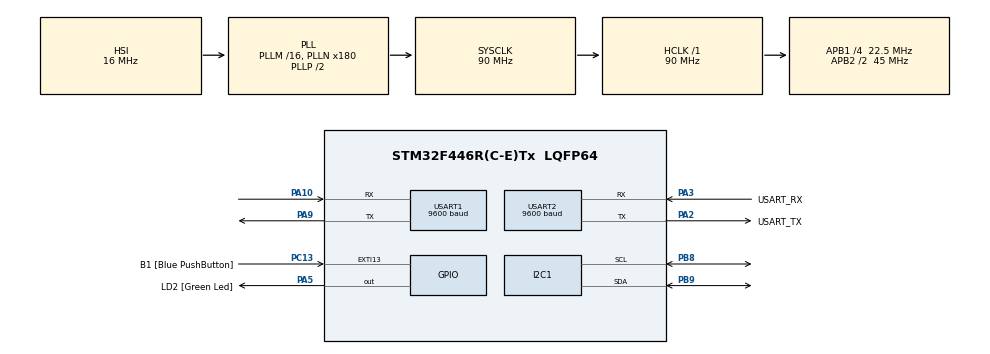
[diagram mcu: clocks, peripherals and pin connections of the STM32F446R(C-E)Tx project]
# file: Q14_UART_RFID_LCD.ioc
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Mcu.Family=STM32F4
Mcu.Name=STM32F446R(C-E)Tx
Mcu.Package=LQFP64
NVIC.PriorityGroup=NVIC_PRIORITYGROUP_0
NVIC.USART1_IRQn=true\:0\:0\:false\:false\:true\:true\:true\:true
NVIC.USART2_IRQn=true\:0\:0\:false\:false\:true\:true\:true\:true
PA10.Mode=Asynchronous
PA10.Signal=USART1_RX
PA13.GPIO_Label=TMS
PA13.Mode=Serial_Wire
PA13.Signal=SYS_JTMS-SWDIO
PA14.GPIO_Label=TCK
PA14.Mode=Serial_Wire
PA14.Signal=SYS_JTCK-SWCLK
PA2.GPIO_Label=USART_TX
PA2.Mode=Asynchronous
PA2.Signal=USART2_TX
PA3.GPIO_Label=USART_RX
PA3.Mode=Asynchronous
PA3.Signal=USART2_RX
PA5.GPIO_Label=LD2 [Green Led]
PA5.Signal=GPIO_Output
PA9.Mode=Asynchronous
PA9.Signal=USART1_TX
PB3.GPIO_Label=SWO
PB3.Signal=SYS_JTDO-SWO
PB8.Mode=I2C
PB8.Signal=I2C1_SCL
PB9.Mode=I2C
PB9.Signal=I2C1_SDA
PC13.GPIO_Label=B1 [Blue PushButton]
PC13.GPIO_ModeDefaultEXTI=GPIO_MODE_IT_FALLING
PC13.Signal=GPXTI13
PC14-OSC32_IN.Mode=LSE-External-Oscillator
PC14-OSC32_IN.Signal=RCC_OSC32_IN
PC15-OSC32_OUT.Mode=LSE-External-Oscillator
PC15-OSC32_OUT.Signal=RCC_OSC32_OUT
PH0-OSC_IN.Mode=HSE-External-Oscillator
PH0-OSC_IN.Signal=RCC_OSC_IN
PH1-OSC_OUT.Mode=HSE-External-Oscillator
PH1-OSC_OUT.Signal=RCC_OSC_OUT
ProjectManager.HeapSize=0x200
ProjectManager.StackSize=0x400
ProjectManager.TargetToolchain=STM32CubeIDE
RCC.48MHZClocksFreq_Value=84000000
RCC.AHBFreq_Value=90000000
RCC.APB1CLKDivider=RCC_HCLK_DIV4
RCC.APB1Freq_Value=22500000
RCC.APB1TimFreq_Value=45000000
RCC.APB2CLKDivider=RCC_HCLK_DIV2
RCC.APB2Freq_Value=45000000
RCC.APB2TimFreq_Value=90000000
RCC.CortexFreq_Value=90000000
RCC.FLatency-AdvancedSettings=FLASH_LATENCY_2
RCC.HCLKFreq_Value=90000000
RCC.HSE_VALUE=8000000
RCC.HSI_VALUE=16000000
RCC.PLLN=180
RCC.SYSCLKFreq_VALUE=90000000
RCC.SYSCLKSource=RCC_SYSCLKSOURCE_PLLCLK
RCC.USBFreq_Value=90000000
RCC.VCOOutputFreq_Value=180000000
USART1.BaudRate=9600
USART1.VirtualMode=VM_ASYNC
USART2.BaudRate=9600
USART2.VirtualMode=VM_ASYNC
board=NUCLEO-F446RE

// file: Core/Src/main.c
/* USER CODE BEGIN Header */
/**
  ******************************************************************************
  * @file           : main.c
  * @brief          : Main program body
  ******************************************************************************
  * @attention
  *
  * Copyright (c) 2023 STMicroelectronics.
  * All rights reserved.
  *
  * This software is licensed under terms that can be found in the LICENSE file
  * in the root directory of this software component.
  * If no LICENSE file comes with this software, it is provided AS-IS.
  *
  ******************************************************************************
  */
/* USER CODE END Header */
#include "main.h"

I2C_HandleTypeDef hi2c1;

UART_HandleTypeDef huart1;
UART_HandleTypeDef huart2;

void SystemClock_Config(void);
static void MX_GPIO_Init(void);
static void MX_USART2_UART_Init(void);
static void MX_I2C1_Init(void);
static void MX_USART1_UART_Init(void);

/* USER CODE BEGIN 0 */
#include "Lcd_i2c.h"
uint8_t buffer[30] = {1,2,3,4};

uint8_t  rfid_data[16];
char lcd_data[16];

uint8_t MSG1[] ="Button State :Realsed\r\n";

void HAL_UART_RxCpltCallback(UART_HandleTypeDef *huart){

	HAL_UART_Receive_IT(&huart2, &rfid_data,1);
}
/* USER CODE END 0 */

int main(void)
{

  /* MCU Configuration--------------------------------------------------------*/

  /* Reset of all peripherals, Initializes the Flash interface and the Systick. */
  HAL_Init();

  /* Configure the system clock */
  SystemClock_Config();

  /* Initialize all configured peripherals */
  MX_GPIO_Init();
  MX_USART2_UART_Init();
  MX_I2C1_Init();
  MX_USART1_UART_Init();
  /* USER CODE BEGIN 2 */
      HD44780_Init(2);
      HD44780_Clear();
//      HD44780_SetCursor(0,0);
//      HD44780_PrintStr(buffer);
//      HAL_Delay(2000);
//      HD44780_Clear();

  /* USER CODE END 2 */

  /* Infinite loop */
  /* USER CODE BEGIN WHILE */
  while (1)
  {
//	  if(HAL_GPIO_ReadPin(GPIOC, GPIO_PIN_13)==1)
//	     {
//	     	HAL_UART_Transmit(&huart2, MSG1, sizeof(MSG1), 1000);
//
//	     }
//	     else
//	     {
//	     	HAL_UART_Transmit(&huart2, MSG2, sizeof(MSG2), 1000);
//
//	     }
	  HAL_UART_Receive_IT(&huart1, rfid_data, 16);
      HAL_GPIO_WritePin(GPIOA, GPIO_PIN_6, 1);
      HAL_Delay(250);

      	  HAL_Delay(5000);
      	HAL_UART_Transmit(&huart2, rfid_data, sizeof(rfid_data), 1000);
      	HD44780_PrintStr(rfid_data);
//        HAL_UART_Transmit(&huart2, buffer, sizeof(buffer), 1000);
    /* USER CODE END WHILE */

  }
}

void SystemClock_Config(void)
{
  RCC_OscInitTypeDef RCC_OscInitStruct = {0};
  RCC_ClkInitTypeDef RCC_ClkInitStruct = {0};

  /** Configure the main internal regulator output voltage
  */
  __HAL_RCC_PWR_CLK_ENABLE();
  __HAL_PWR_VOLTAGESCALING_CONFIG(PWR_REGULATOR_VOLTAGE_SCALE3);

  /** Initializes the RCC Oscillators according to the specified parameters
  * in the RCC_OscInitTypeDef structure.
  */
  RCC_OscInitStruct.OscillatorType = RCC_OSCILLATORTYPE_HSI;
  RCC_OscInitStruct.HSIState = RCC_HSI_ON;
  RCC_OscInitStruct.HSICalibrationValue = RCC_HSICALIBRATION_DEFAULT;
  RCC_OscInitStruct.PLL.PLLState = RCC_PLL_ON;
  RCC_OscInitStruct.PLL.PLLSource = RCC_PLLSOURCE_HSI;
  RCC_OscInitStruct.PLL.PLLM = 16;
  RCC_OscInitStruct.PLL.PLLN = 180;
  RCC_OscInitStruct.PLL.PLLP = RCC_PLLP_DIV2;
  RCC_OscInitStruct.PLL.PLLQ = 2;
  RCC_OscInitStruct.PLL.PLLR = 2;
  if (HAL_RCC_OscConfig(&RCC_OscInitStruct) != HAL_OK)
  {
    Error_Handler();
  }

  /** Initializes the CPU, AHB and APB buses clocks
  */
  RCC_ClkInitStruct.ClockType = RCC_CLOCKTYPE_HCLK|RCC_CLOCKTYPE_SYSCLK
                              |RCC_CLOCKTYPE_PCLK1|RCC_CLOCKTYPE_PCLK2;
  RCC_ClkInitStruct.SYSCLKSource = RCC_SYSCLKSOURCE_PLLCLK;
  RCC_ClkInitStruct.AHBCLKDivider = RCC_SYSCLK_DIV1;
  RCC_ClkInitStruct.APB1CLKDivider = RCC_HCLK_DIV4;
  RCC_ClkInitStruct.APB2CLKDivider = RCC_HCLK_DIV2;

  if (HAL_RCC_ClockConfig(&RCC_ClkInitStruct, FLASH_LATENCY_2) != HAL_OK)
  {
    Error_Handler();
  }
}

static void MX_I2C1_Init(void)
{

  hi2c1.Instance = I2C1;
  hi2c1.Init.ClockSpeed = 100000;
  hi2c1.Init.DutyCycle = I2C_DUTYCYCLE_2;
  hi2c1.Init.OwnAddress1 = 0;
  hi2c1.Init.AddressingMode = I2C_ADDRESSINGMODE_7BIT;
  hi2c1.Init.DualAddressMode = I2C_DUALADDRESS_DISABLE;
  hi2c1.Init.OwnAddress2 = 0;
  hi2c1.Init.GeneralCallMode = I2C_GENERALCALL_DISABLE;
  hi2c1.Init.NoStretchMode = I2C_NOSTRETCH_DISABLE;
  if (HAL_I2C_Init(&hi2c1) != HAL_OK)
  {
    Error_Handler();
  }

}

static void MX_USART1_UART_Init(void)
{

  huart1.Instance = USART1;
  huart1.Init.BaudRate = 9600;
  huart1.Init.WordLength = UART_WORDLENGTH_8B;
  huart1.Init.StopBits = UART_STOPBITS_1;
  huart1.Init.Parity = UART_PARITY_NONE;
  huart1.Init.Mode = UART_MODE_TX_RX;
  huart1.Init.HwFlowCtl = UART_HWCONTROL_NONE;
  huart1.Init.OverSampling = UART_OVERSAMPLING_16;
  if (HAL_UART_Init(&huart1) != HAL_OK)
  {
    Error_Handler();
  }

}

static void MX_USART2_UART_Init(void)
{

  huart2.Instance = USART2;
  huart2.Init.BaudRate = 9600;
  huart2.Init.WordLength = UART_WORDLENGTH_8B;
  huart2.Init.StopBits = UART_STOPBITS_1;
  huart2.Init.Parity = UART_PARITY_NONE;
  huart2.Init.Mode = UART_MODE_TX_RX;
  huart2.Init.HwFlowCtl = UART_HWCONTROL_NONE;
  huart2.Init.OverSampling = UART_OVERSAMPLING_16;
  if (HAL_UART_Init(&huart2) != HAL_OK)
  {
    Error_Handler();
  }

}

static void MX_GPIO_Init(void)
{
  GPIO_InitTypeDef GPIO_InitStruct = {0};

  /* GPIO Ports Clock Enable */
  __HAL_RCC_GPIOC_CLK_ENABLE();
  __HAL_RCC_GPIOH_CLK_ENABLE();
  __HAL_RCC_GPIOA_CLK_ENABLE();
  __HAL_RCC_GPIOB_CLK_ENABLE();

  /*Configure GPIO pin Output Level */
  HAL_GPIO_WritePin(LD2_GPIO_Port, LD2_Pin, GPIO_PIN_RESET);

  /*Configure GPIO pin : B1_Pin */
  GPIO_InitStruct.Pin = B1_Pin;
  GPIO_InitStruct.Mode = GPIO_MODE_IT_FALLING;
  GPIO_InitStruct.Pull = GPIO_NOPULL;
  HAL_GPIO_Init(B1_GPIO_Port, &GPIO_InitStruct);

  /*Configure GPIO pin : LD2_Pin */
  GPIO_InitStruct.Pin = LD2_Pin;
  GPIO_InitStruct.Mode = GPIO_MODE_OUTPUT_PP;
  GPIO_InitStruct.Pull = GPIO_NOPULL;
  GPIO_InitStruct.Speed = GPIO_SPEED_FREQ_LOW;
  HAL_GPIO_Init(LD2_GPIO_Port, &GPIO_InitStruct);

}

void Error_Handler(void)
{
  __disable_irq();
  while (1)
  {
  }
}
